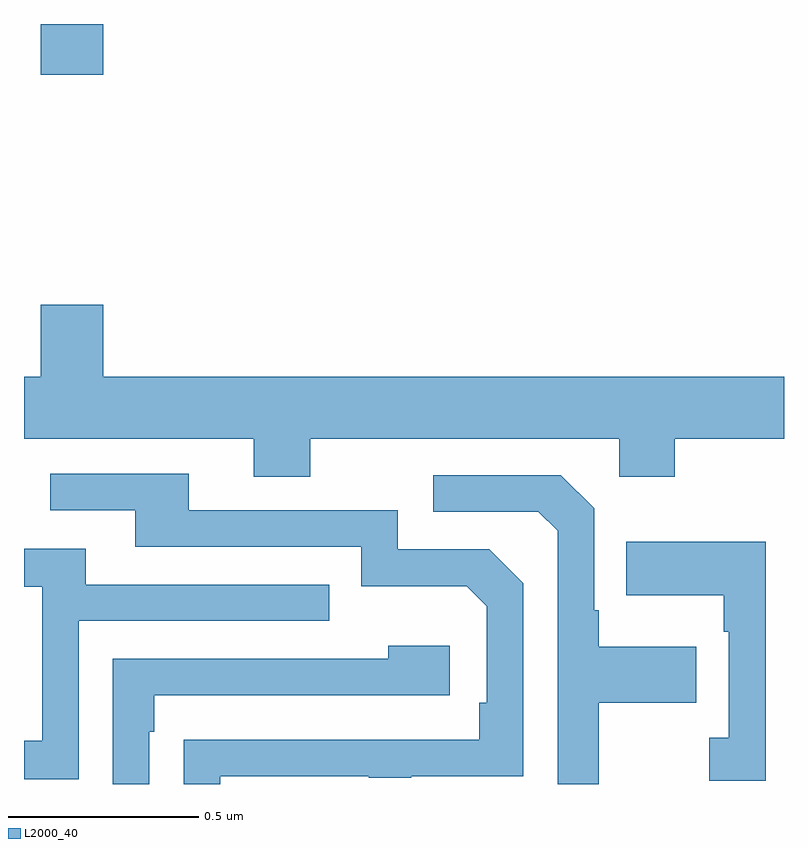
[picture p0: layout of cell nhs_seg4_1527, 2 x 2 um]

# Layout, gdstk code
import gdstk
lib = gdstk.Library(unit=1e-6, precision=1e-09)
def R(c, l, rs):  # rectangles x0, y0, x1, y1
    for r in rs: c.add(gdstk.rectangle(r[:2], r[2:], *l))
def P(c, l, *ps):  # polygons
    for p in ps: c.add(gdstk.Polygon(p, *l))
L2000_40 = (2000, 40)

nhs_seg4_1527 = lib.new_cell('nhs_seg4_1527')
R(nhs_seg4_1527, L2000_40, [(129.044,809.766,129.208,809.9)])
P(nhs_seg4_1527, L2000_40, [(129.753,808.808),(130.566,808.808),(130.566,808.709),(130.713,808.709),(130.713,808.808),(131,808.808),(131,808.972),(129.208,808.972),(129.208,809.161),(129.044,809.161),(129.044,808.972),(129,808.972),(129,808.808),(129.605,808.808),(129.605,808.709),(129.753,808.709)],
  [(129.517,807.921),(129.907,807.921),(129.907,807.916),(130.019,807.916),(130.019,807.921),(130.314,807.921),(130.314,808.428),(130.224,808.518),(129.984,808.518),(129.984,808.62),(129.433,808.62),(129.433,808.716),(129.069,808.716),(129.069,808.62),(129.293,808.62),(129.293,808.524),(129.888,808.524),(129.888,808.421),(130.165,808.421),(130.218,808.368),(130.218,808.114),(130.198,808.114),(130.198,808.017),(129.523,808.017),(129.523,808.016),(129.421,808.016),(129.421,807.9),(129.517,807.9)],
  [(130.513,808.114),(130.769,808.114),(130.769,808.261),(130.513,808.261),(130.513,808.357),(130.5,808.357),(130.5,808.626),(130.413,808.713),(130.077,808.713),(130.077,808.617),(130.353,808.617),(130.404,808.566),(130.404,807.9),(130.513,807.9)],
  [(130.952,808.537),(130.585,808.537),(130.585,808.397),(130.842,808.397),(130.842,808.301),(130.854,808.301),(130.854,808.022),(130.803,808.022),(130.803,807.909),(130.952,807.909)],
  [(129.144,808.329),(129.803,808.329),(129.803,808.425),(129.163,808.425),(129.163,808.519),(129,808.519),(129,808.419),(129.048,808.419),(129.048,808.014),(129,808.014),(129,807.913),(129.144,807.913)],
  [(129.33,808.037),(129.343,808.037),(129.343,808.134),(130.12,808.134),(130.12,808.264),(129.959,808.264),(129.959,808.23),(129.234,808.23),(129.234,807.9),(129.33,807.9)])

lib.write_gds('nhs_seg4_1527.gds')
